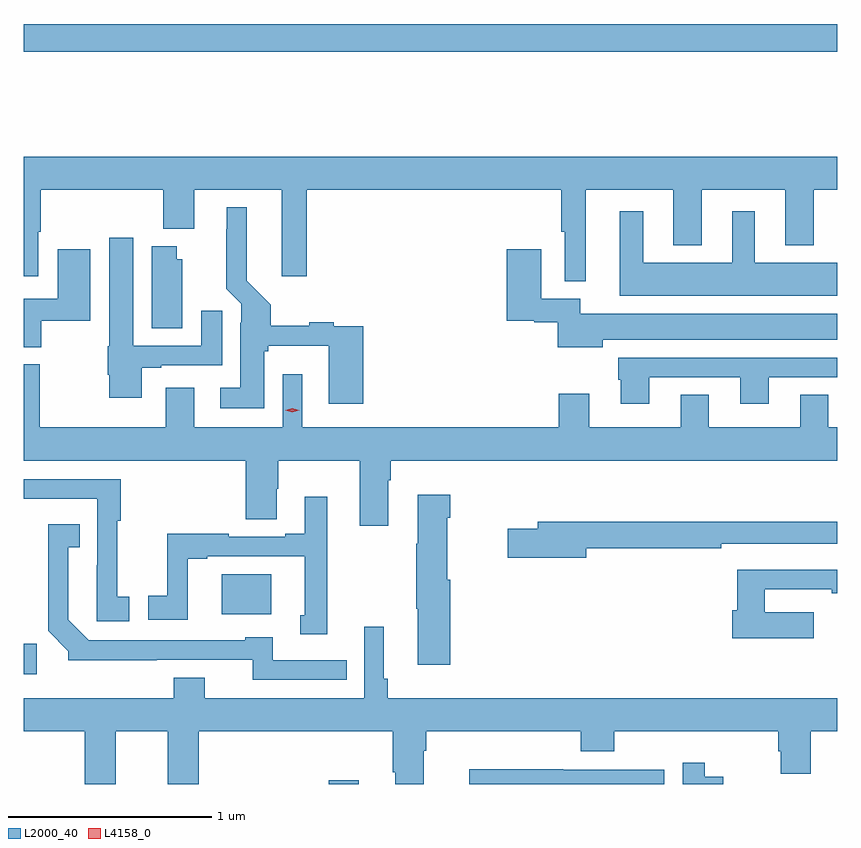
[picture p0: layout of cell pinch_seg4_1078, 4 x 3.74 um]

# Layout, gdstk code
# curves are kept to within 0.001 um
import gdstk
lib = gdstk.Library(unit=1e-6, precision=1e-09)
def R(c, l, rs):  # rectangles x0, y0, x1, y1
    for r in rs: c.add(gdstk.rectangle(r[:2], r[2:], *l))
def P(c, l, *ps):  # polygons
    for p in ps: c.add(gdstk.Polygon(p, *l))
L2000_40 = (2000, 40)
L4158_0 = (4158, 0)

pinch_seg4_1078 = lib.new_cell('pinch_seg4_1078')
R(pinch_seg4_1078, L2000_40, [(569.607,812.545,569.755,812.563), (568.107,813.084,568.169,813.235), (569.081,813.38,569.323,813.577), (568.107,816.148,572.107,816.284)])
P(pinch_seg4_1078, L2000_40, [(570.871,815.468),(571.301,815.468),(571.301,815.195),(571.441,815.195),(571.441,815.468),(571.853,815.468),(571.853,815.195),(571.993,815.195),(571.993,815.468),(572.107,815.468),(572.107,815.632),(568.107,815.632),(568.107,815.043),(568.177,815.043),(568.177,815.263),(568.19,815.263),(568.19,815.468),(568.793,815.468),(568.793,815.276),(568.945,815.276),(568.945,815.468),(569.375,815.468),(569.375,815.043),(569.498,815.043),(569.498,815.468),(570.75,815.468),(570.75,815.263),(570.767,815.263),(570.767,815.019),(570.871,815.019)],
  [(569.29,814.674),(569.308,814.674),(569.308,814.7),(569.606,814.7),(569.606,814.416),(569.777,814.416),(569.777,814.797),(569.63,814.797),(569.63,814.817),(569.51,814.817),(569.51,814.8),(569.321,814.8),(569.321,814.902),(569.203,815.02),(569.203,815.383),(569.105,815.383),(569.105,815.273),(569.101,815.273),(569.101,814.982),(569.175,814.908),(569.175,814.814),(569.171,814.814),(569.171,814.495),(569.073,814.495),(569.073,814.394),(569.29,814.394)],
  [(572.107,815.11),(571.702,815.11),(571.702,815.362),(571.592,815.362),(571.592,815.11),(571.153,815.11),(571.153,815.362),(571.037,815.362),(571.037,814.946),(572.107,814.946)],
  [(568.687,814.593),(568.783,814.593),(568.783,814.605),(569.083,814.605),(569.083,814.873),(568.979,814.873),(568.979,814.701),(568.645,814.701),(568.645,815.233),(568.526,815.233),(568.526,814.698),(568.519,814.698),(568.519,814.558),(568.526,814.558),(568.526,814.446),(568.687,814.446)],
  [(568.885,815.127),(568.858,815.127),(568.858,815.191),(568.736,815.191),(568.736,814.786),(568.885,814.786)],
  [(568.192,814.823),(568.432,814.823),(568.432,815.176),(568.274,815.176),(568.274,814.933),(568.107,814.933),(568.107,814.694),(568.192,814.694)],
  [(570.955,814.73),(572.107,814.73),(572.107,814.858),(570.844,814.858),(570.844,814.933),(570.652,814.933),(570.652,815.176),(570.482,815.176),(570.482,814.823),(570.618,814.823),(570.618,814.816),(570.734,814.816),(570.734,814.694),(570.955,814.694)],
  [(571.183,814.545),(571.631,814.545),(571.631,814.416),(571.771,814.416),(571.771,814.545),(572.107,814.545),(572.107,814.641),(571.031,814.641),(571.031,814.533),(571.043,814.533),(571.043,814.416),(571.183,814.416)],
  [(572.107,814.3),(572.065,814.3),(572.065,814.46),(571.925,814.46),(571.925,814.3),(571.477,814.3),(571.477,814.46),(571.337,814.46),(571.337,814.3),(570.889,814.3),(570.889,814.465),(570.737,814.465),(570.737,814.3),(569.476,814.3),(569.476,814.561),(569.379,814.561),(569.379,814.3),(568.945,814.3),(568.945,814.495),(568.805,814.495),(568.805,814.3),(568.185,814.3),(568.185,814.609),(568.107,814.609),(568.107,814.136),(569.198,814.136),(569.198,813.847),(569.35,813.847),(569.35,813.998),(569.358,813.998),(569.358,814.136),(569.759,814.136),(569.759,813.816),(569.899,813.816),(569.899,814.04),(569.912,814.04),(569.912,814.136),(572.107,814.136)],
  [(568.624,813.465),(568.566,813.465),(568.566,813.841),(568.583,813.841),(568.583,814.044),(568.107,814.044),(568.107,813.948),(568.467,813.948),(568.467,813.62),(568.466,813.62),(568.466,813.345),(568.624,813.345)],
  [(570.203,813.549),(570.19,813.549),(570.19,813.854),(570.203,813.854),(570.203,813.967),(570.044,813.967),(570.044,813.728),(570.037,813.728),(570.037,813.406),(570.044,813.406),(570.044,813.132),(570.203,813.132)],
  [(569.599,813.958),(569.489,813.958),(569.489,813.775),(569.393,813.775),(569.393,813.762),(569.114,813.762),(569.114,813.775),(568.813,813.775),(568.813,813.47),(568.719,813.47),(568.719,813.354),(568.912,813.354),(568.912,813.654),(569.008,813.654),(569.008,813.666),(569.489,813.666),(569.489,813.375),(569.465,813.375),(569.465,813.281),(569.599,813.281)],
  [(570.874,813.706),(571.538,813.706),(571.538,813.726),(572.107,813.726),(572.107,813.835),(570.635,813.835),(570.635,813.801),(570.486,813.801),(570.486,813.659),(570.874,813.659)],
  [(569.696,813.153),(569.332,813.153),(569.332,813.268),(569.196,813.268),(569.196,813.252),(568.425,813.252),(568.324,813.353),(568.324,813.71),(568.382,813.71),(568.382,813.823),(568.227,813.823),(568.227,813.298),(568.326,813.199),(568.326,813.155),(569.233,813.156),(569.233,813.057),(569.696,813.057)],
  [(571.993,813.391),(571.751,813.391),(571.751,813.504),(572.08,813.504),(572.08,813.484),(572.107,813.484),(572.107,813.6),(571.615,813.6),(571.615,813.399),(571.592,813.399),(571.592,813.262),(571.993,813.262)],
  [(568.558,812.804),(568.814,812.804),(568.814,812.545),(568.967,812.545),(568.967,812.804),(569.921,812.804),(569.921,812.602),(569.933,812.602),(569.933,812.545),(570.073,812.545),(570.073,812.708),(570.086,812.708),(570.086,812.804),(570.845,812.804),(570.845,812.705),(571.01,812.705),(571.01,812.804),(571.817,812.804),(571.817,812.706),(571.829,812.706),(571.829,812.596),(571.977,812.596),(571.977,812.804),(572.107,812.804),(572.107,812.968),(569.897,812.968),(569.897,813.064),(569.878,813.064),(569.878,813.319),(569.781,813.319),(569.781,812.968),(568.996,812.968),(568.996,813.067),(568.844,813.067),(568.844,812.968),(568.107,812.968),(568.107,812.804),(568.406,812.804),(568.406,812.545),(568.558,812.545)],
  [(571.548,812.58),(571.456,812.58),(571.456,812.65),(571.347,812.65),(571.347,812.545),(571.548,812.545)],
  [(571.257,812.616),(570.761,812.616),(570.761,812.618),(570.298,812.618),(570.298,812.545),(571.257,812.545)])
P(pinch_seg4_1078, L4158_0, [(569.427,814.373),(569.392,814.384),(569.391,814.384),(569.392,814.384),(569.427,814.393),(569.462,814.383),(569.462,814.383),(569.462,814.383)])

lib.write_gds('pinch_seg4_1078.gds')
